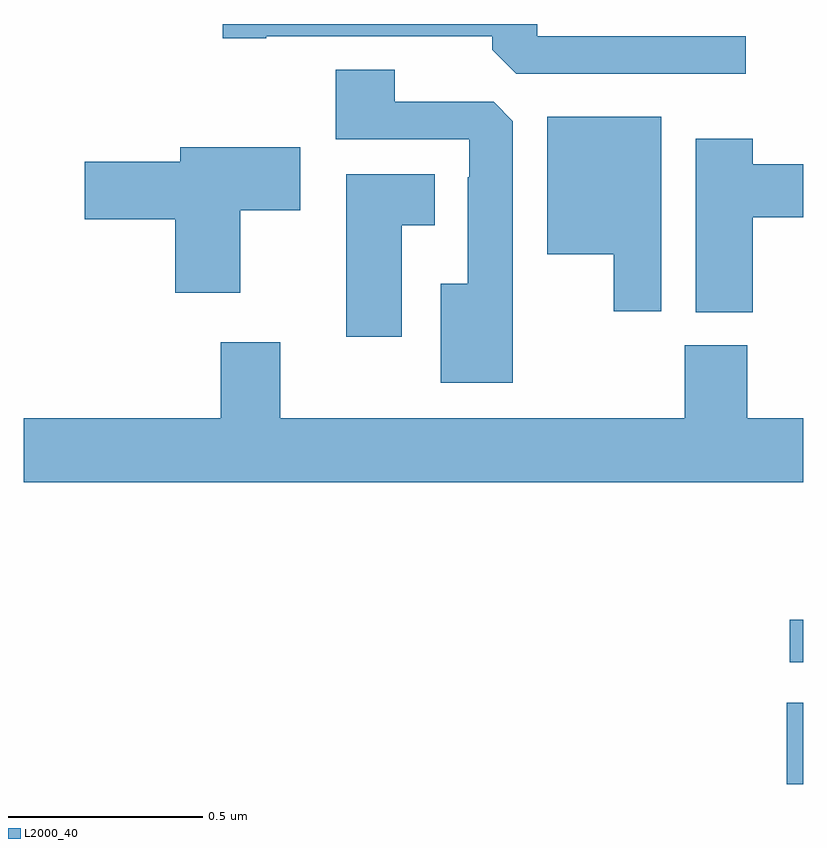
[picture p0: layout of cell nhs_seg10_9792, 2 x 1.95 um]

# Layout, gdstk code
import gdstk
lib = gdstk.Library(unit=1e-6, precision=1e-09)
def R(c, l, rs):  # rectangles x0, y0, x1, y1
    for r in rs: c.add(gdstk.rectangle(r[:2], r[2:], *l))
def P(c, l, *ps):  # polygons
    for p in ps: c.add(gdstk.Polygon(p, *l))
L2000_40 = (2000, 40)

nhs_seg10_9792 = lib.new_cell('nhs_seg10_9792')
R(nhs_seg10_9792, L2000_40, [(235.958,1291.55,236,1291.759), (235.965,1291.863,236,1291.972)])
P(nhs_seg10_9792, L2000_40, [(235.852,1293.468),(235.317,1293.468),(235.317,1293.5),(234.51,1293.5),(234.51,1293.463),(234.622,1293.463),(234.622,1293.468),(235.202,1293.468),(235.202,1293.434),(235.263,1293.372),(235.852,1293.372)],
  [(235.255,1293.251),(235.206,1293.3),(234.952,1293.3),(234.952,1293.383),(234.8,1293.383),(234.8,1293.204),(235.143,1293.204),(235.143,1293.107),(235.139,1293.107),(235.139,1292.833),(235.07,1292.833),(235.07,1292.579),(235.255,1292.579)],
  [(235.636,1293.262),(235.343,1293.262),(235.343,1292.909),(235.514,1292.909),(235.514,1292.763),(235.636,1292.763)],
  [(235.871,1293.004),(236,1293.004),(236,1293.14),(235.871,1293.14),(235.871,1293.205),(235.724,1293.205),(235.724,1292.761),(235.871,1292.761)],
  [(234.556,1293.022),(234.709,1293.022),(234.709,1293.184),(234.401,1293.184),(234.401,1293.146),(234.156,1293.146),(234.156,1292.999),(234.389,1292.999),(234.389,1292.811),(234.556,1292.811)],
  [(234.97,1292.984),(235.054,1292.984),(235.054,1293.115),(234.827,1293.115),(234.827,1292.697),(234.97,1292.697)],
  [(236,1292.488),(235.856,1292.488),(235.856,1292.676),(235.696,1292.676),(235.696,1292.488),(234.658,1292.488),(234.658,1292.683),(234.506,1292.683),(234.506,1292.488),(234,1292.488),(234,1292.324),(236,1292.324)])

lib.write_gds('nhs_seg10_9792.gds')
